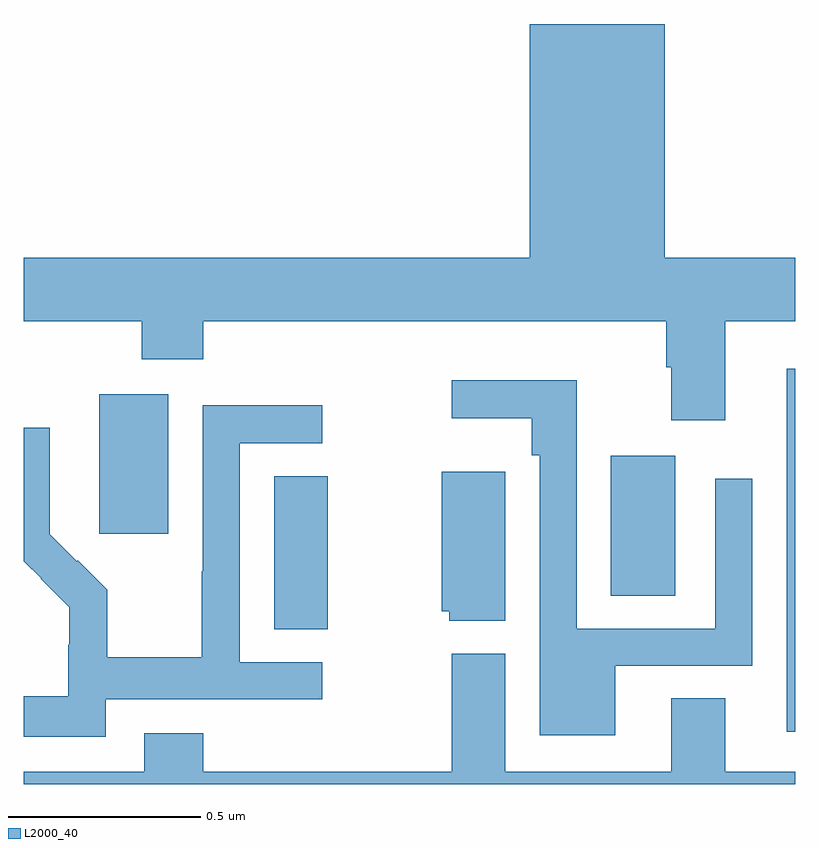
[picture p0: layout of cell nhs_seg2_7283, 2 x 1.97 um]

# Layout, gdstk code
import gdstk
lib = gdstk.Library(unit=1e-6, precision=1e-09)
def R(c, l, rs):  # rectangles x0, y0, x1, y1
    for r in rs: c.add(gdstk.rectangle(r[:2], r[2:], *l))
def P(c, l, *ps):  # polygons
    for p in ps: c.add(gdstk.Polygon(p, *l))
L2000_40 = (2000, 40)

nhs_seg2_7283 = lib.new_cell('nhs_seg2_7283')
R(nhs_seg2_7283, L2000_40, [(203.978,615.936,204,616.876), (202.649,616.201,202.788,616.598), (203.522,616.288,203.689,616.651), (202.196,616.449,202.375,616.81)])
P(nhs_seg2_7283, L2000_40, [(203.818,617),(204,617),(204,617.164),(203.662,617.164),(203.662,617.77),(203.312,617.77),(203.312,617.164),(202,617.164),(202,617),(202.306,617),(202.306,616.901),(202.466,616.901),(202.466,617),(203.666,617),(203.666,616.88),(203.678,616.88),(203.678,616.743),(203.818,616.743)],
  [(203.533,616.107),(203.889,616.107),(203.889,616.591),(203.793,616.591),(203.793,616.203),(203.433,616.203),(203.433,616.846),(203.109,616.846),(203.109,616.748),(203.317,616.748),(203.317,616.652),(203.337,616.652),(203.337,615.926),(203.533,615.926)],
  [(202.212,616.02),(202.774,616.02),(202.774,616.116),(202.56,616.116),(202.56,616.683),(202.774,616.683),(202.774,616.782),(202.464,616.782),(202.464,616.352),(202.462,616.352),(202.462,616.129),(202.217,616.129),(202.217,616.303),(202.14,616.38),(202.137,616.377),(202.067,616.448),(202.067,616.57),(202.068,616.57),(202.068,616.724),(202,616.724),(202,616.378),(202.045,616.333),(202.044,616.332),(202.118,616.258),(202.118,616.161),(202.116,616.161),(202.116,616.027),(202,616.027),(202,615.923),(202.212,615.923)],
  [(203.248,616.609),(203.084,616.609),(203.084,616.248),(203.103,616.248),(203.103,616.223),(203.248,616.223)],
  [(204,615.832),(203.818,615.832),(203.818,616.022),(203.678,616.022),(203.678,615.832),(203.248,615.832),(203.248,616.138),(203.11,616.138),(203.11,615.832),(202.466,615.832),(202.466,615.931),(202.313,615.931),(202.313,615.832),(202,615.832),(202,615.8),(204,615.8)])

lib.write_gds('nhs_seg2_7283.gds')
